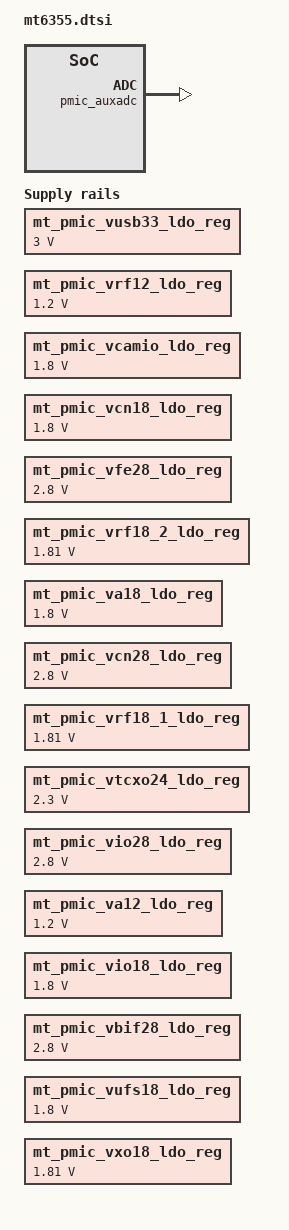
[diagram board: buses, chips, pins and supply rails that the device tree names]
/*
 * Copyright (C) 2016 MediaTek Inc.
 *
 * This program is free software; you can redistribute it and/or modify
 * it under the terms of the GNU General Public License version 2 as
 * published by the Free Software Foundation.
 *
 * This program is distributed in the hope that it will be useful,
 * but WITHOUT ANY WARRANTY; without even the implied warranty of
 * MERCHANTABILITY or FITNESS FOR A PARTICULAR PURPOSE.
 * See http://www.gnu.org/licenses/gpl-2.0.html for more details.
 */

&mt6355_pmic {
	pmic_auxadc: mt635x-auxadc {
		compatible = "mediatek,mt635x-auxadc";
		#io-channel-cells = <1>;

		batadc {
			channel = <AUXADC_BATADC>;
			resistance-ratio = <3 1>;
			avg-num = <128>;
		};
		vcdt {
			channel = <AUXADC_VCDT>;
		};
		bat_temp {
			channel = <AUXADC_BAT_TEMP>;
			resistance-ratio = <2 1>;
		};
		batid {
			channel = <AUXADC_BATID>;
			resistance-ratio = <2 1>;
		};
		chip_temp {
			channel = <AUXADC_CHIP_TEMP>;
		};
		accdet {
			channel = <AUXADC_ACCDET>;
		};
		tsx_temp {
			channel = <AUXADC_TSX_TEMP>;
			avg-num = <128>;
		};
		hpofs_cal {
			channel = <AUXADC_HPOFS_CAL>;
			avg-num = <256>;
		};
		dcxo_temp {
			channel = <AUXADC_DCXO_TEMP>;
			avg-num = <16>;
		};
		vbif {
			channel = <AUXADC_VBIF>;
			resistance-ratio = <2 1>;
		};
	};

	buck_regulators {
		compatible = "mediatek,mt_pmic_buck_regulators";
		mt_pmic_vdram2_buck_reg: buck_vdram2 {
			regulator-name = "vdram2";
			regulator-min-microvolt = <400000>;
			regulator-max-microvolt = <1193750>;
			regulator-ramp-delay = <6250>;
			regulator-enable-ramp-delay = <220>;
		};
		mt_pmic_vs1_buck_reg: buck_vs1 {
			regulator-name = "vs1";
			regulator-min-microvolt = <1200000>;
			regulator-max-microvolt = <2787500>;
			regulator-ramp-delay = <12500>;
			regulator-enable-ramp-delay = <220>;
		};
		mt_pmic_vdram1_buck_reg: buck_vdram1 {
			regulator-name = "vdram1";
			regulator-min-microvolt = <518750>;
			regulator-max-microvolt = <1312500>;
			regulator-ramp-delay = <6250>;
			regulator-enable-ramp-delay = <220>;
		};
		mt_pmic_vmodem_buck_reg: buck_vmodem {
			regulator-name = "vmodem";
			regulator-min-microvolt = <400000>;
			regulator-max-microvolt = <1193750>;
			regulator-ramp-delay = <6250>;
			regulator-enable-ramp-delay = <220>;
		};
		mt_pmic_vcore_buck_reg: buck_vcore {
			regulator-name = "vcore";
			regulator-min-microvolt = <406250>;
			regulator-max-microvolt = <1200000>;
			regulator-ramp-delay = <6250>;
			regulator-enable-ramp-delay = <220>;
		};
		mt_pmic_vs2_buck_reg: buck_vs2 {
			regulator-name = "vs2";
			regulator-min-microvolt = <1200000>;
			regulator-max-microvolt = <2787500>;
			regulator-ramp-delay = <12500>;
			regulator-enable-ramp-delay = <220>;
		};
		mt_pmic_vpa_buck_reg: buck_vpa {
			regulator-name = "vpa";
			regulator-min-microvolt = <500000>;
			regulator-max-microvolt = <3650000>;
			regulator-ramp-delay = <50000>;
			regulator-enable-ramp-delay = <220>;
		};
		mt_pmic_vproc12_buck_reg: buck_vproc12 {
			regulator-name = "vproc12";
			regulator-min-microvolt = <406250>;
			regulator-max-microvolt = <1200000>;
			regulator-ramp-delay = <6250>;
			regulator-enable-ramp-delay = <220>;
		};
		mt_pmic_vgpu_buck_reg: buck_vgpu {
			regulator-name = "vgpu";
			regulator-min-microvolt = <406250>;
			regulator-max-microvolt = <1200000>;
			regulator-ramp-delay = <6250>;
			regulator-enable-ramp-delay = <220>;
		};
		mt_pmic_vproc11_buck_reg: buck_vproc11 {
			regulator-name = "vproc11";
			regulator-min-microvolt = <406250>;
			regulator-max-microvolt = <1200000>;
			regulator-ramp-delay = <6250>;
			regulator-enable-ramp-delay = <220>;
		};
	};	/* End of buck_regulators */
	ldo_regulators {
		compatible = "mediatek,mt_pmic_ldo_regulators";
		mt_pmic_vcamd1_ldo_reg: ldo_vcamd1 {
			regulator-name = "vcamd1";
			regulator-min-microvolt = <900000>;
			regulator-max-microvolt = <1200000>;
			regulator-enable-ramp-delay = <264>;
		};
		mt_pmic_vsim1_ldo_reg: ldo_vsim1 {
			regulator-name = "vsim1";
			regulator-min-microvolt = <1700000>;
			regulator-max-microvolt = <3100000>;
			regulator-enable-ramp-delay = <264>;
		};
		mt_pmic_vgp_ldo_reg: ldo_vgp {
			regulator-name = "vgp";
			regulator-min-microvolt = <1500000>;
			regulator-max-microvolt = <3300000>;
			regulator-enable-ramp-delay = <264>;
		};
		mt_pmic_vusb33_ldo_reg: ldo_vusb33 {
			compatible = "regulator-fixed";
			regulator-name = "vusb33";
			regulator-min-microvolt = <3000000>;
			regulator-max-microvolt = <3000000>;
			regulator-enable-ramp-delay = <264>;
		};
		mt_pmic_vrf12_ldo_reg: ldo_vrf12 {
			compatible = "regulator-fixed";
			regulator-name = "vrf12";
			regulator-min-microvolt = <1200000>;
			regulator-max-microvolt = <1200000>;
			regulator-enable-ramp-delay = <110>;
		};
		mt_pmic_vcamio_ldo_reg: ldo_vcamio {
			compatible = "regulator-fixed";
			regulator-name = "vcamio";
			regulator-min-microvolt = <1800000>;
			regulator-max-microvolt = <1800000>;
			regulator-enable-ramp-delay = <264>;
		};
		mt_pmic_vcn18_ldo_reg: ldo_vcn18 {
			compatible = "regulator-fixed";
			regulator-name = "vcn18";
			regulator-min-microvolt = <1800000>;
			regulator-max-microvolt = <1800000>;
			regulator-enable-ramp-delay = <264>;
		};
		mt_pmic_vfe28_ldo_reg: ldo_vfe28 {
			compatible = "regulator-fixed";
			regulator-name = "vfe28";
			regulator-min-microvolt = <2800000>;
			regulator-max-microvolt = <2800000>;
			regulator-enable-ramp-delay = <264>;
		};
		mt_pmic_vrf18_2_ldo_reg: ldo_vrf18_2 {
			compatible = "regulator-fixed";
			regulator-name = "vrf18_2";
			regulator-min-microvolt = <1810000>;
			regulator-max-microvolt = <1810000>;
			regulator-enable-ramp-delay = <110>;
		};
		mt_pmic_va18_ldo_reg: ldo_va18 {
			compatible = "regulator-fixed";
			regulator-name = "va18";
			regulator-min-microvolt = <1800000>;
			regulator-max-microvolt = <1800000>;
			regulator-enable-ramp-delay = <264>;
		};
		mt_pmic_vcn28_ldo_reg: ldo_vcn28 {
			compatible = "regulator-fixed";
			regulator-name = "vcn28";
			regulator-min-microvolt = <2800000>;
			regulator-max-microvolt = <2800000>;
			regulator-enable-ramp-delay = <264>;
		};
		mt_pmic_vmipi_ldo_reg: ldo_vmipi {
			regulator-name = "vmipi";
			regulator-min-microvolt = <1700000>;
			regulator-max-microvolt = <2100000>;
			regulator-enable-ramp-delay = <264>;
		};
		mt_pmic_vsram_gpu_ldo_reg: ldo_vsram_gpu {
			regulator-name = "vsram_gpu";
			regulator-min-microvolt = <518750>;
			regulator-max-microvolt = <1312500>;
			regulator-ramp-delay = <6250>;
			regulator-enable-ramp-delay = <110>;
		};
		mt_pmic_vsram_core_ldo_reg: ldo_vsram_core {
			regulator-name = "vsram_core";
			regulator-min-microvolt = <518750>;
			regulator-max-microvolt = <1312500>;
			regulator-ramp-delay = <6250>;
			regulator-enable-ramp-delay = <110>;
		};
		mt_pmic_vsram_proc_ldo_reg: ldo_vsram_proc {
			regulator-name = "vsram_proc";
			regulator-min-microvolt = <518750>;
			regulator-max-microvolt = <1312500>;
			regulator-ramp-delay = <6250>;
			regulator-enable-ramp-delay = <110>;
		};
		mt_pmic_vxo22_ldo_reg: ldo_vxo22 {
			regulator-name = "vxo22";
			regulator-min-microvolt = <2200000>;
			regulator-max-microvolt = <2300000>;
			regulator-enable-ramp-delay = <110>;
		};
		mt_pmic_vrf18_1_ldo_reg: ldo_vrf18_1 {
			compatible = "regulator-fixed";
			regulator-name = "vrf18_1";
			regulator-min-microvolt = <1810000>;
			regulator-max-microvolt = <1810000>;
			regulator-enable-ramp-delay = <110>;
		};
		mt_pmic_vcamd2_ldo_reg: ldo_vcamd2 {
			regulator-name = "vcamd2";
			regulator-min-microvolt = <900000>;
			regulator-max-microvolt = <1800000>;
			regulator-enable-ramp-delay = <264>;
		};
		mt_pmic_vmch_ldo_reg: ldo_vmch {
			regulator-name = "vmch";
			regulator-min-microvolt = <2900000>;
			regulator-max-microvolt = <3300000>;
			regulator-enable-ramp-delay = <36>;
		};
		mt_pmic_vcama1_ldo_reg: ldo_vcama1 {
			regulator-name = "vcama1";
			regulator-min-microvolt = <1800000>;
			regulator-max-microvolt = <3000000>;
			regulator-enable-ramp-delay = <264>;
		};
		mt_pmic_vtcxo24_ldo_reg: ldo_vtcxo24 {
			compatible = "regulator-fixed";
			regulator-name = "vtcxo24";
			regulator-min-microvolt = <2300000>;
			regulator-max-microvolt = <2300000>;
			regulator-enable-ramp-delay = <110>;
		};
		mt_pmic_vio28_ldo_reg: ldo_vio28 {
			compatible = "regulator-fixed";
			regulator-name = "vio28";
			regulator-min-microvolt = <2800000>;
			regulator-max-microvolt = <2800000>;
			regulator-enable-ramp-delay = <264>;
		};
		mt_pmic_vemc_ldo_reg: ldo_vemc {
			regulator-name = "vemc";
			regulator-min-microvolt = <2900000>;
			regulator-max-microvolt = <3300000>;
			regulator-enable-ramp-delay = <36>;
		};
		mt_pmic_va12_ldo_reg: ldo_va12 {
			compatible = "regulator-fixed";
			regulator-name = "va12";
			regulator-min-microvolt = <1200000>;
			regulator-max-microvolt = <1200000>;
			regulator-enable-ramp-delay = <264>;
		};
		mt_pmic_va10_ldo_reg: ldo_va10 {
			regulator-name = "va10";
			regulator-min-microvolt = <600000>;
			regulator-max-microvolt = <2100000>;
			regulator-enable-ramp-delay = <264>;
		};
		mt_pmic_vgp2_ldo_reg: ldo_vgp2 {
			regulator-name = "vgp2";
			regulator-min-microvolt = <1200000>;
			regulator-max-microvolt = <3300000>;
			regulator-enable-ramp-delay = <36>;
		};
		mt_pmic_vio18_ldo_reg: ldo_vio18 {
			compatible = "regulator-fixed";
			regulator-name = "vio18";
			regulator-min-microvolt = <1800000>;
			regulator-max-microvolt = <1800000>;
			regulator-enable-ramp-delay = <264>;
		};
		mt_pmic_vcn33_bt_ldo_reg: ldo_vcn33_bt {
			regulator-name = "vcn33_bt";
			regulator-min-microvolt = <3300000>;
			regulator-max-microvolt = <3500000>;
			regulator-enable-ramp-delay = <264>;
		};
		mt_pmic_vcn33_wifi_ldo_reg: ldo_vcn33_wifi {
			regulator-name = "vcn33_wifi";
			regulator-min-microvolt = <3300000>;
			regulator-max-microvolt = <3500000>;
			regulator-enable-ramp-delay = <264>;
		};
		mt_pmic_vsram_md_ldo_reg: ldo_vsram_md {
			regulator-name = "vsram_md";
			regulator-min-microvolt = <518750>;
			regulator-max-microvolt = <1312500>;
			regulator-ramp-delay = <6250>;
			regulator-enable-ramp-delay = <110>;
		};
		mt_pmic_vbif28_ldo_reg: ldo_vbif28 {
			compatible = "regulator-fixed";
			regulator-name = "vbif28";
			regulator-min-microvolt = <2800000>;
			regulator-max-microvolt = <2800000>;
			regulator-enable-ramp-delay = <264>;
		};
		mt_pmic_vufs18_ldo_reg: ldo_vufs18 {
			compatible = "regulator-fixed";
			regulator-name = "vufs18";
			regulator-min-microvolt = <1800000>;
			regulator-max-microvolt = <1800000>;
			regulator-enable-ramp-delay = <264>;
		};
		mt_pmic_vcama2_ldo_reg: ldo_vcama2 {
			regulator-name = "vcama2";
			regulator-min-microvolt = <1800000>;
			regulator-max-microvolt = <3000000>;
			regulator-enable-ramp-delay = <264>;
		};
		mt_pmic_vmc_ldo_reg: ldo_vmc {
			regulator-name = "vmc";
			regulator-min-microvolt = <1800000>;
			regulator-max-microvolt = <3300000>;
			regulator-enable-ramp-delay = <36>;
		};
		mt_pmic_vldo28_ldo_reg: ldo_vldo28 {
			regulator-name = "vldo28";
			regulator-min-microvolt = <2800000>;
			regulator-max-microvolt = <3000000>;
			regulator-enable-ramp-delay = <264>;
		};
		mt_pmic_vldo28_tp_ldo_reg: ldo_vldo28_tp {
			regulator-name = "vldo28_tp";
			regulator-min-microvolt = <2800000>;
			regulator-max-microvolt = <3000000>;
			regulator-enable-ramp-delay = <264>;
		};
		mt_pmic_vxo18_ldo_reg: ldo_vxo18 {
			compatible = "regulator-fixed";
			regulator-name = "vxo18";
			regulator-min-microvolt = <1810000>;
			regulator-max-microvolt = <1810000>;
			regulator-enable-ramp-delay = <110>;
		};
		mt_pmic_vsim2_ldo_reg: ldo_vsim2 {
			regulator-name = "vsim2";
			regulator-min-microvolt = <1700000>;
			regulator-max-microvolt = <3100000>;
			regulator-enable-ramp-delay = <264>;
		};
	};	/* End of ldo_regulators */
};	/* End of main_pmic */
